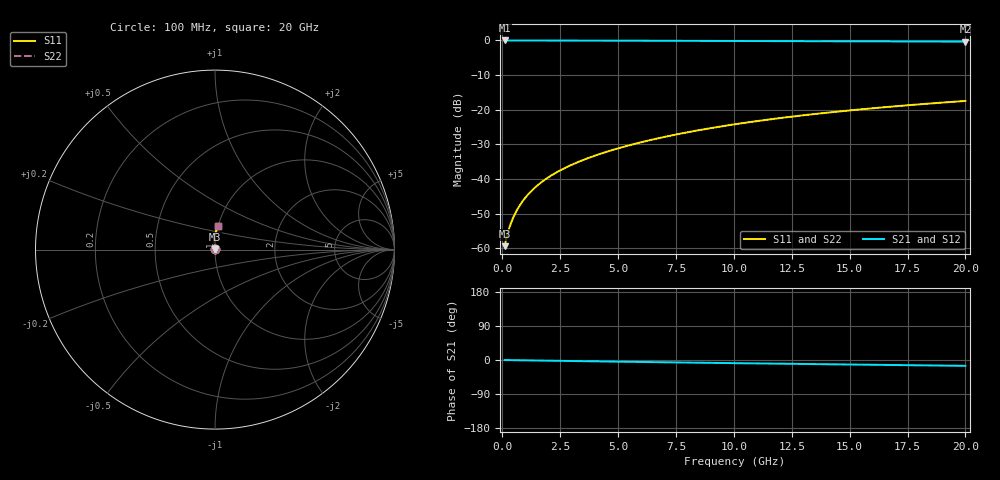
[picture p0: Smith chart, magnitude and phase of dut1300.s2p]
! Touchstone file exported from HFSS 2024.1.0
!  File:  C:/UserFiles/LocalFiles/RDL_TSV_Batchsim/temp_RDL_bottom_1300_1780368057.aedt
!  Generated:  10:43:15 AM Jun  2, 2026
!  Design:  RDL_bottom
!  Project:  temp_RDL_bottom_1300_1780368057
!  Setup:  Setup1
!  Solution:  Sweep
! Variables:
!  dtsv = 10.80580581um
!  hbump = 3um
!  htsv = 68.19um
!  ldown = 232.09um
!  lrdl = 100um
!  p = 40
!  p1 = 41.49um
!  rhole = 1um
!  t = 450um
!  tdown = 4.85um
!  trdl = 3.915915916um
!  wdown = 24.18um
!  wrdl = 20um
# GHz S MA R 50.000000
! Terminal data exported
! Port[1] = RDL1_T1
! Port[2] = RDL1_T2
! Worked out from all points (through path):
!   200 points, 100 MHz to 20 GHz, reference 50 ohm
!   highest |S21| = -0.01 dB at 100 MHz (marker M1); lowest = -0.3 dB at 20 GHz (marker M2)
!   group delay of S21, straight-line fit = 2.11 ps
!   lowest |S11| = -59.4 dB at 100 MHz (marker M3), VSWR 1.00, Z = 50.1 + j0.0622 ohm
!   |S11| at or under -10 dB: start of sweep to end of sweep
!   |S22| runs from -59.4 to -17.5 dB; largest |S21 - S12| = 3.4e-15
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0.1  0.001077 35.2  0.9991 -0.1  0.9991 -0.1  0.001077 35.2
! Gamma 0 0 0 0
! Port Impedance 50 0 50 0
0.2  0.001512 51.2  0.999 -0.2  0.999 -0.2  0.001512 51.2
0.3  0.001968 59.7  0.999 -0.3  0.999 -0.3  0.001968 59.7
0.4  0.002434 65.3  0.9989 -0.4  0.9989 -0.4  0.002434 65.3
0.5  0.002911 69.3  0.9988 -0.5  0.9988 -0.5  0.002911 69.3
0.6  0.003398 72.4  0.9988 -0.6  0.9988 -0.6  0.003398 72.4
0.8  0.004396 76.6  0.9986 -0.7  0.9986 -0.7  0.004396 76.6
1.1  0.005927 80.5  0.9984 -1.0  0.9984 -1.0  0.005927 80.5
1.3  0.006962 82.3  0.9983 -1.2  0.9983 -1.2  0.006962 82.3
1.6  0.008531 84.2  0.998 -1.5  0.998 -1.5  0.008531 84.2
2.1  0.01118 86.4  0.9974 -1.9  0.9974 -1.9  0.01118 86.4
2.7  0.01443 88.2  0.9965 -2.4  0.9965 -2.4  0.01443 88.2
3.5  0.01889 89.9  0.9951 -3.1  0.9951 -3.1  0.01889 89.9
4.2  0.02293 90.9  0.9937 -3.7  0.9937 -3.7  0.02293 90.9
5  0.02773 91.7  0.992 -4.4  0.992 -4.4  0.02773 91.7
6.8  0.03922 92.5  0.9878 -5.9  0.9878 -5.9  0.03922 92.5
8.4  0.0501 92.2  0.9842 -7.1  0.9842 -7.1  0.0501 92.2
10.1  0.06213 91.4  0.9804 -8.4  0.9804 -8.4  0.06213 91.4
11.7  0.07371 90.2  0.977 -9.6  0.977 -9.6  0.07371 90.2
13.4  0.08613 88.8  0.9736 -10.8  0.9736 -10.8  0.08613 88.8
16.7  0.1103 85.8  0.9674 -13.1  0.9674 -13.1  0.1103 85.8
20  0.134 82.7  0.9616 -15.4  0.9616 -15.4  0.134 82.7
